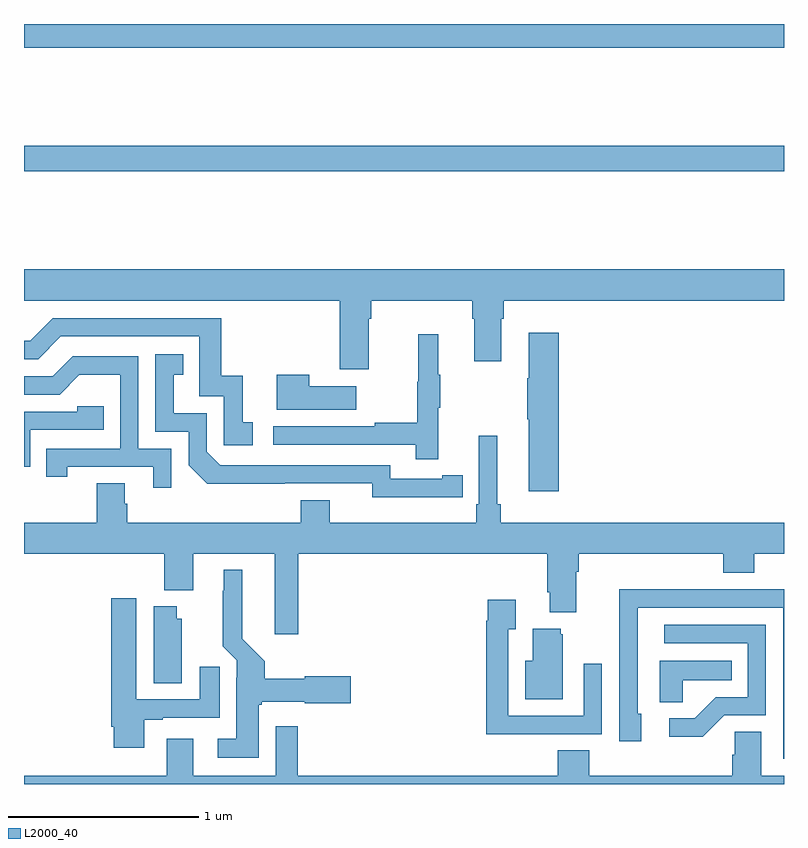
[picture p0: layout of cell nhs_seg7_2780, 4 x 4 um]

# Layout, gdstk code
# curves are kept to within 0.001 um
import gdstk
lib = gdstk.Library(unit=1e-6, precision=1e-09)
def R(c, l, rs):  # rectangles x0, y0, x1, y1
    for r in rs: c.add(gdstk.rectangle(r[:2], r[2:], *l))
def P(c, l, *ps):  # polygons
    for p in ps: c.add(gdstk.Polygon(p, *l))
L2000_40 = (2000, 40)

nhs_seg7_2780 = lib.new_cell('nhs_seg7_2780')
R(nhs_seg7_2780, L2000_40, [(289,1073.224,293,1073.36), (289,1073.876,293,1074)])
P(nhs_seg7_2780, L2000_40, [(290.815,1072.448),(290.828,1072.448),(290.828,1072.544),(291.359,1072.544),(291.359,1072.448),(291.371,1072.448),(291.371,1072.224),(291.511,1072.224),(291.511,1072.448),(291.524,1072.448),(291.524,1072.544),(293,1072.544),(293,1072.708),(289,1072.708),(289,1072.544),(290.663,1072.544),(290.663,1072.182),(290.815,1072.182)],
  [(290.203,1071.903),(290.15,1071.903),(290.15,1072.15),(290.039,1072.15),(290.039,1072.452),(289.152,1072.452),(289.032,1072.332),(289,1072.332),(289,1072.236),(289.074,1072.236),(289.194,1072.356),(289.923,1072.356),(289.923,1072.041),(290.052,1072.041),(290.052,1071.783),(290.203,1071.783)],
  [(291.815,1072.375),(291.656,1072.375),(291.656,1072.136),(291.649,1072.136),(291.649,1071.919),(291.656,1071.919),(291.656,1071.54),(291.815,1071.54)],
  [(291.179,1071.979),(291.19,1071.979),(291.19,1072.153),(291.179,1072.153),(291.179,1072.366),(291.076,1072.366),(291.076,1072.116),(291.069,1072.116),(291.069,1071.902),(290.845,1071.902),(290.845,1071.882),(290.313,1071.882),(290.313,1071.786),(291.061,1071.786),(291.061,1071.708),(291.179,1071.708)],
  [(291.2,1071.51),(291.308,1071.51),(291.308,1071.626),(291.2,1071.626),(291.2,1071.606),(290.928,1071.606),(290.928,1071.678),(290.034,1071.678),(289.962,1071.75),(289.962,1071.951),(289.789,1071.951),(289.789,1072.155),(289.838,1072.155),(289.838,1072.261),(289.692,1072.261),(289.692,1071.855),(289.866,1071.855),(289.866,1071.678),(289.964,1071.581),(290.832,1071.582),(290.832,1071.509)],
  [(289.776,1071.765),(289.602,1071.765),(289.602,1072.251),(289.256,1072.251),(289.151,1072.146),(289,1072.146),(289,1072.05),(289.188,1072.05),(289.292,1072.154),(289.506,1072.154),(289.506,1071.765),(289.117,1071.765),(289.117,1071.618),(289.228,1071.618),(289.228,1071.669),(289.679,1071.669),(289.679,1071.558),(289.776,1071.558)],
  [(290.749,1072.093),(290.501,1072.093),(290.501,1072.153),(290.33,1072.153),(290.33,1071.971),(290.749,1071.971)],
  [(289.032,1071.864),(289.421,1071.864),(289.421,1071.987),(289.281,1071.987),(289.281,1071.96),(289,1071.96),(289,1071.669),(289.032,1071.669)],
  [(291.393,1071.832),(291.393,1071.472),(291.38,1071.472),(291.38,1071.376),(290.608,1071.376),(290.608,1071.493),(290.456,1071.493),(290.456,1071.376),(289.544,1071.376),(289.544,1071.474),(289.531,1071.474),(289.531,1071.584),(289.384,1071.584),(289.384,1071.376),(289,1071.376),(289,1071.212),(289.739,1071.212),(289.739,1071.02),(289.891,1071.02),(289.891,1071.212),(290.321,1071.212),(290.321,1070.787),(290.444,1070.787),(290.444,1071.212),(291.755,1071.212),(291.755,1071.01),(291.767,1071.01),(291.767,1070.903),(291.907,1070.903),(291.907,1071.116),(291.92,1071.116),(291.92,1071.212),(292.679,1071.212),(292.679,1071.113),(292.844,1071.113),(292.844,1071.212),(293,1071.212),(293,1071.376),(291.509,1071.376),(291.509,1071.472),(291.49,1071.472),(291.49,1071.832)],
  [(290.236,1070.418),(290.25,1070.418),(290.25,1070.432),(290.478,1070.432),(290.478,1070.425),(290.719,1070.425),(290.719,1070.567),(290.478,1070.567),(290.478,1070.554),(290.267,1070.554),(290.267,1070.646),(290.149,1070.764),(290.149,1071.127),(290.051,1071.127),(290.051,1071.017),(290.047,1071.017),(290.047,1070.726),(290.121,1070.652),(290.121,1070.558),(290.117,1070.558),(290.117,1070.239),(290.019,1070.239),(290.019,1070.138),(290.236,1070.138)],
  [(293,1071.024),(292.595,1071.024),(292.595,1071.026),(292.132,1071.026),(292.132,1070.719),(292.134,1070.719),(292.134,1070.226),(292.249,1070.226),(292.249,1070.37),(292.23,1070.37),(292.23,1070.928),(292.995,1070.928),(292.995,1070.133),(293,1070.133)],
  [(289.633,1070.337),(289.729,1070.337),(289.729,1070.349),(290.029,1070.349),(290.029,1070.617),(289.925,1070.617),(289.925,1070.445),(289.591,1070.445),(289.591,1070.977),(289.46,1070.977),(289.46,1070.302),(289.472,1070.302),(289.472,1070.19),(289.633,1070.19)],
  [(291.725,1070.262),(292.041,1070.262),(292.041,1070.632),(291.945,1070.632),(291.945,1070.358),(291.549,1070.358),(291.549,1070.815),(291.589,1070.815),(291.589,1070.971),(291.441,1070.971),(291.441,1070.858),(291.433,1070.858),(291.433,1070.261),(291.725,1070.261)],
  [(289.831,1070.871),(289.804,1070.871),(289.804,1070.935),(289.682,1070.935),(289.682,1070.53),(289.831,1070.53)],
  [(292.686,1070.361),(292.905,1070.361),(292.905,1070.838),(292.371,1070.838),(292.371,1070.742),(292.809,1070.742),(292.809,1070.457),(292.64,1070.457),(292.529,1070.346),(292.395,1070.346),(292.395,1070.249),(292.573,1070.249)],
  [(291.835,1070.787),(291.824,1070.787),(291.824,1070.818),(291.677,1070.818),(291.677,1070.65),(291.638,1070.65),(291.638,1070.447),(291.835,1070.447)],
  [(292.467,1070.546),(292.724,1070.546),(292.724,1070.65),(292.346,1070.65),(292.346,1070.431),(292.467,1070.431)],
  [(291.974,1070.177),(291.809,1070.177),(291.809,1070.044),(290.441,1070.044),(290.441,1070.305),(290.325,1070.305),(290.325,1070.044),(289.891,1070.044),(289.891,1070.239),(289.751,1070.239),(289.751,1070.044),(289,1070.044),(289,1070),(293,1070),(293,1070.044),(292.879,1070.044),(292.879,1070.276),(292.74,1070.276),(292.74,1070.153),(292.727,1070.153),(292.727,1070.044),(291.974,1070.044)])

lib.write_gds('nhs_seg7_2780.gds')
